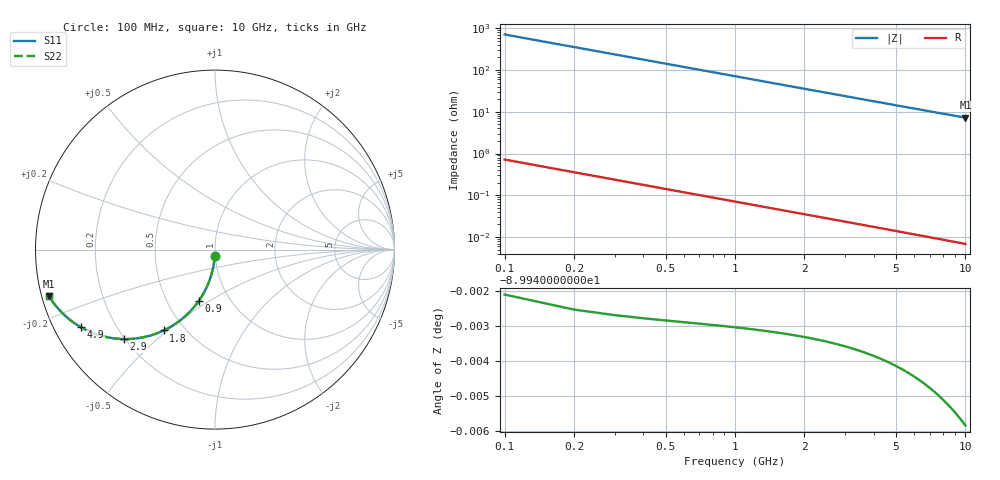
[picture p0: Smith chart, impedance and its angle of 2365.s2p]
# Hz S RI R 50.00
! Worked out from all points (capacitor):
!   100 points, 100 MHz to 10 GHz, reference 50 ohm
!   read as one part in shunt: C = 2.24 pF near 100 MHz
!   lowest |Z| = 7.25 ohm at 10 GHz (marker M1)
!   S11 on the Smith chart (normalised r, x): 100 MHz: 1.00, -0.07; 900 MHz: 0.71, -0.45; 1.8 GHz: 0.39, -0.49; 2.9 GHz: 0.20, -0.40; 4.9 GHz: 0.08, -0.27; 10 GHz: 0.02, -0.14
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1e8  -0.00125 -0.035  0.9987 -0.0351  0.9987 -0.0351  -0.00125 -0.035
2e8  -0.00496 -0.0698  0.995 -0.0699  0.995 -0.0699  -0.00496 -0.0698
3e8  -0.0111 -0.1041  0.9889 -0.1043  0.9889 -0.1043  -0.0111 -0.1041
4e8  -0.0195 -0.1376  0.9805 -0.1378  0.9805 -0.1378  -0.0195 -0.1376
5e8  -0.03 -0.1701  0.9699 -0.1704  0.9699 -0.1704  -0.03 -0.1701
6e8  -0.0427 -0.2014  0.9573 -0.2018  0.9573 -0.2018  -0.0427 -0.2014
7e8  -0.0571 -0.2314  0.9428 -0.2319  0.9428 -0.2319  -0.0571 -0.2314
9e8  -0.091 -0.2868  0.909 -0.2874  0.909 -0.2874  -0.091 -0.2868
1.1e9  -0.13 -0.3354  0.87 -0.3361  0.87 -0.3361  -0.13 -0.3354
1.3e9  -0.1725 -0.3769  0.8275 -0.3778  0.8275 -0.3778  -0.1725 -0.3769
1.5e9  -0.2171 -0.4113  0.7828 -0.4123  0.7828 -0.4123  -0.2171 -0.4113
1.8e9  -0.2852 -0.4504  0.7147 -0.4516  0.7147 -0.4516  -0.2852 -0.4504
2.3e9  -0.3942 -0.4874  0.6057 -0.4889  0.6057 -0.4889  -0.3942 -0.4874
2.9e9  -0.5081 -0.4985  0.4918 -0.5004  0.4918 -0.5004  -0.5081 -0.4985
3.4e9  -0.5865 -0.4908  0.4134 -0.4931  0.4134 -0.4931  -0.5865 -0.4908
4.1e9  -0.6732 -0.4672  0.3268 -0.4699  0.3268 -0.4699  -0.6732 -0.4672
4.9e9  -0.746 -0.4331  0.254 -0.4364  0.254 -0.4364  -0.746 -0.4331
5.1e9  -0.7608 -0.4244  0.2392 -0.4278  0.2392 -0.4278  -0.7608 -0.4244
5.9e9  -0.8095 -0.3902  0.1904 -0.3941  0.1904 -0.3941  -0.8095 -0.3902
6.7e9  -0.8455 -0.3586  0.1544 -0.3631  0.1544 -0.3631  -0.8455 -0.3586
8.4e9  -0.8956 -0.3023  0.1043 -0.308  0.1043 -0.308  -0.8956 -0.3023
1e10  -0.9239 -0.2611  0.076 -0.268  0.076 -0.268  -0.9239 -0.2611
